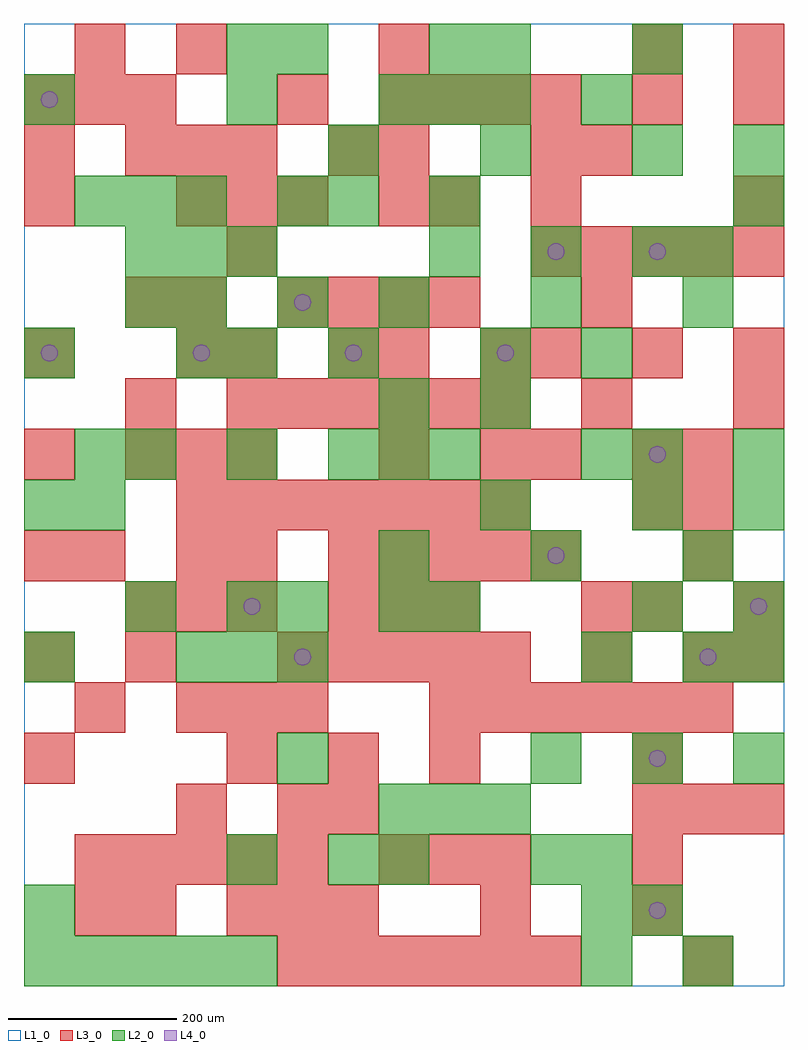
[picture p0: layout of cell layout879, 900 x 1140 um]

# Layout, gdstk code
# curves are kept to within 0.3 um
import gdstk
lib = gdstk.Library(unit=1e-6, precision=1e-09)
def R(c, l, rs):  # rectangles x0, y0, x1, y1
    for r in rs: c.add(gdstk.rectangle(r[:2], r[2:], *l))
def A(c, l, x, y, w, h, nx, ny, dx, dy):  # array of equal rectangles
    R(c, l, [(x+i*dx, y+j*dy, x+i*dx+w, y+j*dy+h) for i in range(nx) for j in range(ny)])
def P(c, l, *ps):  # polygons
    for p in ps: c.add(gdstk.Polygon(p, *l))
L1_0 = (1, 0)
L2_0 = (2, 0)
L3_0 = (3, 0)
L4_0 = (4, 0)

layout879 = lib.new_cell('layout879')
R(layout879, L1_0, [(0,0,900,1140)])
A(layout879, L2_0, 0, 0, 60, 60, 5, 1, 60, 0)
A(layout879, L2_0, 660, 0, 60, 60, 1, 3, 0, 60)
A(layout879, L2_0, 240, 120, 60, 60, 1, 4, 0, 300)
A(layout879, L2_0, 420, 180, 60, 60, 3, 2, 60, 840)
A(layout879, L2_0, 600, 240, 60, 60, 3, 1, 120, 0)
A(layout879, L2_0, 0, 360, 60, 60, 1, 3, 0, 180)
A(layout879, L2_0, 180, 360, 60, 60, 3, 1, 60, 0)
A(layout879, L2_0, 420, 480, 60, 60, 3, 1, 180, 0)
A(layout879, L2_0, 120, 600, 60, 60, 3, 1, 120, 0)
A(layout879, L2_0, 180, 780, 60, 60, 3, 1, 120, 0)
A(layout879, L2_0, 120, 840, 60, 60, 3, 1, 60, 0)
A(layout879, L2_0, 480, 840, 60, 60, 3, 1, 120, 0)
A(layout879, L2_0, 60, 900, 60, 60, 3, 1, 60, 0)
A(layout879, L2_0, 360, 960, 60, 60, 3, 1, 180, 0)
R(layout879, L2_0, [(780,0,840,60), (0,60,60,120), (720,60,780,120), (360,120,420,180), (420,120,480,180), (600,120,660,180), (300,240,360,300), (660,360,720,420), (780,360,840,420), (840,360,900,420), (120,420,180,480), (300,420,360,480), (420,420,480,480), (480,420,540,480), (720,420,780,480), (840,420,900,480), (60,540,120,600), (540,540,600,600), (720,540,780,600), (840,540,900,600), (60,600,120,660), (420,600,480,660), (480,600,540,660), (660,600,720,660), (720,600,780,660), (840,600,900,660), (420,660,480,720), (540,660,600,720), (180,720,240,780), (360,720,420,780), (540,720,600,780), (660,720,720,780), (120,780,180,840), (600,780,660,840), (780,780,840,840), (780,840,840,900), (300,900,360,960), (360,900,420,960), (480,900,540,960), (840,900,900,960), (840,960,900,1020), (0,1020,60,1080), (660,1020,720,1080), (240,1080,300,1140), (300,1080,360,1140), (480,1080,540,1140), (540,1080,600,1140), (720,1080,780,1140)])
A(layout879, L3_0, 300, 0, 60, 60, 6, 1, 60, 0)
A(layout879, L3_0, 120, 60, 60, 60, 1, 3, 0, 300)
A(layout879, L3_0, 240, 60, 60, 60, 3, 1, 60, 0)
A(layout879, L3_0, 60, 120, 60, 60, 5, 1, 60, 0)
A(layout879, L3_0, 420, 120, 60, 60, 3, 1, 60, 0)
A(layout879, L3_0, 720, 180, 60, 60, 3, 1, 60, 0)
A(layout879, L3_0, 0, 240, 60, 60, 1, 5, 0, 120)
A(layout879, L3_0, 240, 240, 60, 60, 3, 1, 120, 0)
A(layout879, L3_0, 180, 300, 60, 60, 3, 2, 60, 600)
A(layout879, L3_0, 480, 300, 60, 60, 6, 1, 60, 0)
A(layout879, L3_0, 300, 360, 60, 60, 5, 1, 60, 0)
A(layout879, L3_0, 120, 420, 60, 60, 3, 2, 60, 180)
A(layout879, L3_0, 360, 420, 60, 60, 3, 1, 60, 0)
A(layout879, L3_0, 840, 420, 60, 60, 1, 3, 0, 240)
A(layout879, L3_0, 360, 480, 60, 60, 5, 1, 60, 0)
A(layout879, L3_0, 780, 480, 60, 60, 1, 3, 0, 60)
A(layout879, L3_0, 180, 540, 60, 60, 7, 1, 60, 0)
A(layout879, L3_0, 240, 660, 60, 60, 6, 1, 60, 0)
A(layout879, L3_0, 600, 720, 60, 60, 3, 1, 120, 0)
A(layout879, L3_0, 300, 780, 60, 60, 4, 1, 60, 0)
A(layout879, L3_0, 600, 840, 60, 60, 5, 1, 60, 0)
A(layout879, L3_0, 120, 960, 60, 60, 3, 1, 60, 0)
A(layout879, L3_0, 0, 1020, 60, 60, 3, 1, 60, 0)
A(layout879, L3_0, 420, 1020, 60, 60, 4, 1, 60, 0)
R(layout879, L3_0, [(780,0,840,60), (60,60,120,120), (540,60,600,120), (720,60,780,120), (720,120,780,180), (180,180,240,240), (300,180,360,240), (360,180,420,240), (720,240,780,300), (60,300,120,360), (660,360,720,420), (780,360,840,420), (840,360,900,420), (660,420,720,480), (720,420,780,480), (60,480,120,540), (180,480,240,540), (240,480,300,540), (720,540,780,600), (420,600,480,660), (540,600,600,660), (600,600,660,660), (720,600,780,660), (660,660,720,720), (180,720,240,780), (240,720,300,780), (360,720,420,780), (420,720,480,780), (540,720,600,780), (120,780,180,840), (180,780,240,840), (660,780,720,840), (240,840,300,900), (0,900,60,960), (420,900,480,960), (480,900,540,960), (600,900,660,960), (0,960,60,1020), (360,960,420,1020), (420,960,480,1020), (600,960,660,1020), (660,960,720,1020), (300,1020,360,1080), (720,1020,780,1080), (840,1020,900,1080), (60,1080,120,1140), (180,1080,240,1140), (420,1080,480,1140), (720,1080,780,1140), (840,1080,900,1140)])
P(layout879, L4_0, [(40,750),(39.239,753.827),(37.071,757.071),(33.827,759.239),(30,760),(26.173,759.239),(22.929,757.071),(20.761,753.827),(20,750),(20.761,746.173),(22.929,742.929),(26.173,740.761),(30,740),(33.827,740.761),(37.071,742.929),(39.239,746.173)],
  [(40,1050),(39.239,1053.827),(37.071,1057.071),(33.827,1059.239),(30,1060),(26.173,1059.239),(22.929,1057.071),(20.761,1053.827),(20,1050),(20.761,1046.173),(22.929,1042.929),(26.173,1040.761),(30,1040),(33.827,1040.761),(37.071,1042.929),(39.239,1046.173)],
  [(220,750),(219.239,753.827),(217.071,757.071),(213.827,759.239),(210,760),(206.173,759.239),(202.929,757.071),(200.761,753.827),(200,750),(200.761,746.173),(202.929,742.929),(206.173,740.761),(210,740),(213.827,740.761),(217.071,742.929),(219.239,746.173)],
  [(280,450),(279.239,453.827),(277.071,457.071),(273.827,459.239),(270,460),(266.173,459.239),(262.929,457.071),(260.761,453.827),(260,450),(260.761,446.173),(262.929,442.929),(266.173,440.761),(270,440),(273.827,440.761),(277.071,442.929),(279.239,446.173)],
  [(340,390),(339.239,393.827),(337.071,397.071),(333.827,399.239),(330,400),(326.173,399.239),(322.929,397.071),(320.761,393.827),(320,390),(320.761,386.173),(322.929,382.929),(326.173,380.761),(330,380),(333.827,380.761),(337.071,382.929),(339.239,386.173)],
  [(340,810),(339.239,813.827),(337.071,817.071),(333.827,819.239),(330,820),(326.173,819.239),(322.929,817.071),(320.761,813.827),(320,810),(320.761,806.173),(322.929,802.929),(326.173,800.761),(330,800),(333.827,800.761),(337.071,802.929),(339.239,806.173)],
  [(400,750),(399.239,753.827),(397.071,757.071),(393.827,759.239),(390,760),(386.173,759.239),(382.929,757.071),(380.761,753.827),(380,750),(380.761,746.173),(382.929,742.929),(386.173,740.761),(390,740),(393.827,740.761),(397.071,742.929),(399.239,746.173)],
  [(580,750),(579.239,753.827),(577.071,757.071),(573.827,759.239),(570,760),(566.173,759.239),(562.929,757.071),(560.761,753.827),(560,750),(560.761,746.173),(562.929,742.929),(566.173,740.761),(570,740),(573.827,740.761),(577.071,742.929),(579.239,746.173)],
  [(640,510),(639.239,513.827),(637.071,517.071),(633.827,519.239),(630,520),(626.173,519.239),(622.929,517.071),(620.761,513.827),(620,510),(620.761,506.173),(622.929,502.929),(626.173,500.761),(630,500),(633.827,500.761),(637.071,502.929),(639.239,506.173)],
  [(640,870),(639.239,873.827),(637.071,877.071),(633.827,879.239),(630,880),(626.173,879.239),(622.929,877.071),(620.761,873.827),(620,870),(620.761,866.173),(622.929,862.929),(626.173,860.761),(630,860),(633.827,860.761),(637.071,862.929),(639.239,866.173)],
  [(760,90),(759.239,93.827),(757.071,97.071),(753.827,99.239),(750,100),(746.173,99.239),(742.929,97.071),(740.761,93.827),(740,90),(740.761,86.173),(742.929,82.929),(746.173,80.761),(750,80),(753.827,80.761),(757.071,82.929),(759.239,86.173)],
  [(760,270),(759.239,273.827),(757.071,277.071),(753.827,279.239),(750,280),(746.173,279.239),(742.929,277.071),(740.761,273.827),(740,270),(740.761,266.173),(742.929,262.929),(746.173,260.761),(750,260),(753.827,260.761),(757.071,262.929),(759.239,266.173)],
  [(760,630),(759.239,633.827),(757.071,637.071),(753.827,639.239),(750,640),(746.173,639.239),(742.929,637.071),(740.761,633.827),(740,630),(740.761,626.173),(742.929,622.929),(746.173,620.761),(750,620),(753.827,620.761),(757.071,622.929),(759.239,626.173)],
  [(760,870),(759.239,873.827),(757.071,877.071),(753.827,879.239),(750,880),(746.173,879.239),(742.929,877.071),(740.761,873.827),(740,870),(740.761,866.173),(742.929,862.929),(746.173,860.761),(750,860),(753.827,860.761),(757.071,862.929),(759.239,866.173)],
  [(820,390),(819.239,393.827),(817.071,397.071),(813.827,399.239),(810,400),(806.173,399.239),(802.929,397.071),(800.761,393.827),(800,390),(800.761,386.173),(802.929,382.929),(806.173,380.761),(810,380),(813.827,380.761),(817.071,382.929),(819.239,386.173)],
  [(880,450),(879.239,453.827),(877.071,457.071),(873.827,459.239),(870,460),(866.173,459.239),(862.929,457.071),(860.761,453.827),(860,450),(860.761,446.173),(862.929,442.929),(866.173,440.761),(870,440),(873.827,440.761),(877.071,442.929),(879.239,446.173)])

lib.write_gds('layout879.gds')
